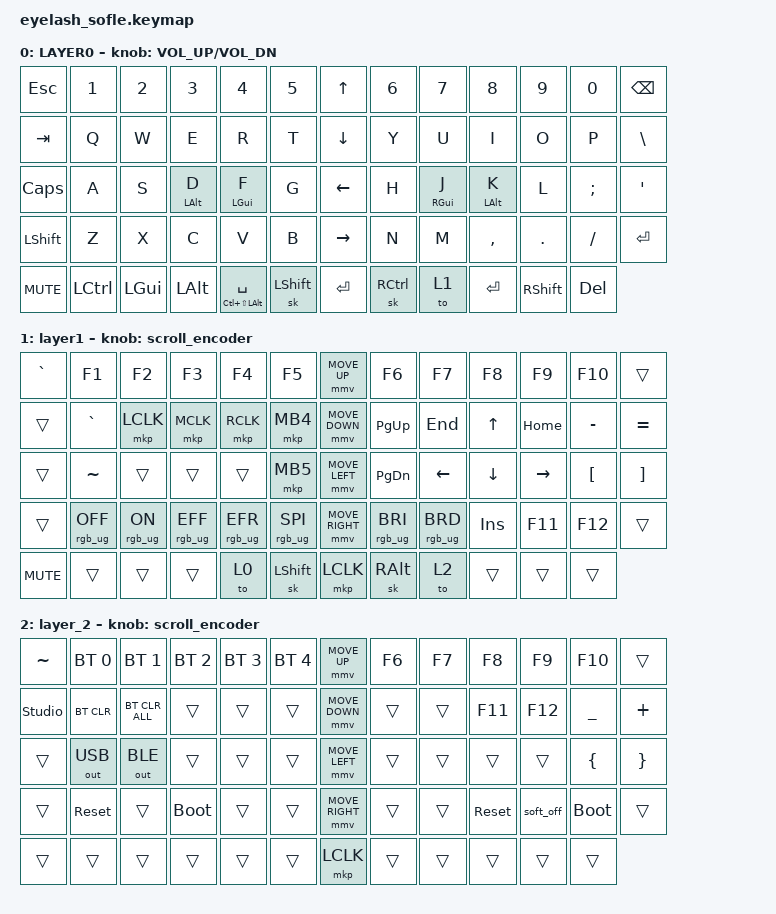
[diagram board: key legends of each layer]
#include <behaviors.dtsi>
#include <dt-bindings/zmk/bt.h>
#include <dt-bindings/zmk/keys.h>
#include <dt-bindings/zmk/mouse.h>
#include <dt-bindings/zmk/outputs.h>
#include <dt-bindings/zmk/rgb.h>

#include <input/processors.dtsi>

/*

   &mmv_input_listener {
       input-processors = <&zip_xy_scaler 2 1>;
   };

   &msc_input_listener {
       input-processors = <&zip_xy_scaler 2 1>;
   };

 */

#define ZMK_MOUSE_DEFAULT_MOVE_VAL 1200  // 600
#define ZMK_MOUSE_DEFAULT_SCRL_VAL 20    // 10

&mt {
    flavor = "tap-preferred";
    tapping_term_ms = <200>;
};

&mmv {
   time-to-max-speed-ms = <680>;
   acceleration-exponent=<2>;
};

/ {
    behaviors {
        mmv {
            acceleration-exponent = <1>;      // 1
            time-to-max-speed-ms = <900>;    // 40
            delay-ms = <0>;                   // 0
        };

        msc {
            acceleration-exponent = <1>;      // 0
            time-to-max-speed-ms = <400>;      // 500
            delay-ms = <0>;                   //   10
        };

        hm: homerow_mods {
            compatible = "zmk,behavior-hold-tap";
            label = "HOMEROW_MODS";
            #binding-cells = <2>;
            tapping-term-ms = <200>;
            quick_tap_ms = <0>;
            flavor = "tap-preferred";
            bindings = <&kp>, <&kp>;
        };
        td: tapdance {
            compatible = "zmk,behavior-hold-tap";
            label = "TAPDANCE";
            #binding-cells = <2>;
            tapping-term-ms = <150>;
            quick_tap_ms = <0>;
            flavor = "tap-preferred";
            bindings = <&kp>, <&kp>;
        };
    };

    scroll_encoder: scroll_encoder {
        compatible = "zmk,behavior-sensor-rotate";
        #sensor-binding-cells = <0>;
        bindings = <&msc SCRL_DOWN>, <&msc SCRL_UP>;

        tap-ms = <30>;
    };

    keymap {
        compatible = "zmk,keymap";
        //                                                     L            DIR          R
        layer0 {
            bindings = < 
&kp ESC     &kp N1     &kp N2        &kp N3        &kp N4               &kp N5       &kp UP_ARROW     &kp N6     &kp N7     &kp N8     &kp N9           &kp N0      &kp BACKSPACE
&kp TAB     &kp Q      &kp W         &kp E         &kp R                &kp T        &kp DOWN_ARROW   &kp Y      &kp U      &kp I      &kp O            &kp P       &kp BSLH
&kp CAPS    &kp A      &kp S         &hm LALT D    &hm LGUI F           &kp G        &kp LEFT_ARROW   &kp H      &hm RGUI J &hm LALT K &kp L            &kp SEMI    &kp APOS
&kp LSHFT   &kp Z      &kp X         &kp C         &kp V                &kp B        &kp RIGHT_ARROW  &kp N      &kp M      &kp COMMA  &kp DOT          &kp FSLH    &kp ENTER
&kp C_MUTE  &kp LCTRL  &kp LEFT_GUI  &kp LEFT_ALT  &mt LC(LS(LALT)) SPC &sk LSHIFT   &kp ENTER  	  &sk RCTRL  &to 1      &kp ENTER  &kp RIGHT_SHIFT  &kp DELETE
            >;

            sensor-bindings = <&inc_dec_kp C_VOLUME_UP C_VOL_DN>;
            display-name = "LAYER0";
        };

        layer_1 {
            bindings = <
&kp GRAVE   &kp F1           &kp F2          &kp F3           &kp F4               &kp F5             &mmv MOVE_UP     &kp F6           &kp F7           &kp F8      &kp F9     &kp F10           &trans
&trans      &kp GRAVE        &mkp LCLK       &mkp MCLK        &mkp RCLK            &mkp MB4           &mmv MOVE_DOWN   &kp PG_UP        &kp END          &kp UP      &kp HOME   &kp MINUS         &kp EQUAL
&trans      &kp TILDE        &trans          &trans           &trans               &mkp MB5           &mmv MOVE_LEFT   &kp PG_DN        &kp LEFT         &kp DOWN    &kp RIGHT  &kp LEFT_BRACKET  &kp RIGHT_BRACKET
&trans      &rgb_ug RGB_OFF  &rgb_ug RGB_ON  &rgb_ug RGB_EFF  &rgb_ug RGB_EFR      &rgb_ug RGB_SPI    &mmv MOVE_RIGHT  &rgb_ug RGB_BRI  &rgb_ug RGB_BRD  &kp INSERT  &kp F11    &kp F12           &trans
&kp C_MUTE  &trans           &trans          &trans           &to 0                &sk LSHIFT         &mkp LCLK        &sk RALT         &to 2            &trans      &trans     &trans
            >;

            display-name = "layer1";
            sensor-bindings = <&scroll_encoder>;
        };

        layer_2 {
            bindings = <
&kp TILDE  &bt BT_SEL 0  &bt BT_SEL 1    &bt BT_SEL 2  &bt BT_SEL 3  &bt BT_SEL 4    &mmv MOVE_UP     &kp F6  &kp F7  &kp F8      &kp F9     &kp F10      &trans
&studio_unlock      &bt BT_CLR    &bt BT_CLR_ALL  &trans        &trans        &trans          &mmv MOVE_DOWN   &trans  &trans  &kp F11     &kp F12    &kp UNDER    &kp PLUS
&trans     &out OUT_USB  &out OUT_BLE    &trans        &trans        &trans          &mmv MOVE_LEFT   &trans  &trans  &trans      &trans     &kp LBRC     &kp RBRC
&trans     &sys_reset    &trans          &bootloader   &trans        &trans          &mmv MOVE_RIGHT  &trans  &trans  &sys_reset  &soft_off  &bootloader  &trans
&trans     &trans        &trans          &trans        &trans        &trans          &mkp LCLK        &trans  &trans  &trans      &trans     &trans
            >;

            sensor-bindings = <&scroll_encoder>;
        };
    };
};
